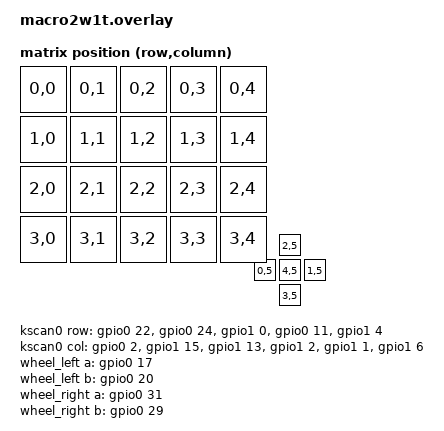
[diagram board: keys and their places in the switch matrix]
#include <dt-bindings/zmk/matrix_transform.h>
#include <physical_layouts.dtsi>

/ {
    chosen {
        zmk,kscan = &kscan0;
        /*
         * No zmk,matrix-transform here on purpose.
         * ZMK Studio needs the physical layout to own the transform,
         * and having both set stops Studio from starting.
         */
    };

    /*
     * 6 columns x 5 rows.  Diodes run switch -> anode -> cathode -> ROW,
     * so current flows column to row: diode-direction = "col2row".
     * Pin numbers come straight out of 2W1TMacro.kicad_pcb.
     */
    kscan0: kscan_0 {
        compatible = "zmk,kscan-gpio-matrix";
        wakeup-source;
        diode-direction = "col2row";

        col-gpios
            = <&gpio0  2 GPIO_ACTIVE_HIGH>   /* COL 0  P0.02 */
            , <&gpio1 15 GPIO_ACTIVE_HIGH>   /* COL 1  P1.15 */
            , <&gpio1 13 GPIO_ACTIVE_HIGH>   /* COL 2  P1.13 */
            , <&gpio1  2 GPIO_ACTIVE_HIGH>   /* COL 3  P1.02 */
            , <&gpio1  1 GPIO_ACTIVE_HIGH>   /* COL 4  P1.01 */
            , <&gpio1  6 GPIO_ACTIVE_HIGH>   /* COL 5  P1.06 */
            ;

        row-gpios
            = <&gpio0 22 (GPIO_ACTIVE_HIGH | GPIO_PULL_DOWN)>   /* ROW 0  P0.22 */
            , <&gpio0 24 (GPIO_ACTIVE_HIGH | GPIO_PULL_DOWN)>   /* ROW 1  P0.24 */
            , <&gpio1  0 (GPIO_ACTIVE_HIGH | GPIO_PULL_DOWN)>   /* ROW 2  P1.00 */
            , <&gpio0 11 (GPIO_ACTIVE_HIGH | GPIO_PULL_DOWN)>   /* ROW 3  P0.11 */
            , <&gpio1  4 (GPIO_ACTIVE_HIGH | GPIO_PULL_DOWN)>   /* ROW 4  P1.04 */
            ;
    };

    /*
     * Column 5 is the 5-way switch: its five directions land on rows 0-4
     * in the order Left, Right, Up, Down, Center.
     */
    default_transform: keymap_transform_0 {
        compatible = "zmk,matrix-transform";
        columns = <6>;
        rows = <5>;
        map = <
            RC(0,0) RC(0,1) RC(0,2) RC(0,3) RC(0,4)   RC(0,5)
            RC(1,0) RC(1,1) RC(1,2) RC(1,3) RC(1,4)   RC(1,5)
            RC(2,0) RC(2,1) RC(2,2) RC(2,3) RC(2,4)   RC(2,5)
            RC(3,0) RC(3,1) RC(3,2) RC(3,3) RC(3,4)   RC(3,5)
                                                      RC(4,5)
        >;
    };

    /*
     * Where every key physically sits, so ZMK Studio can draw the board.
     * Units are centi-key-units: 100 = 1u = 19.05 mm.  Origin is the
     * top-left corner of the first key; every number below is measured
     * off 2W1TMacro.kicad_pcb.
     *
     * Order must match the transform map above, row by row.
     * The 5-way is drawn as five 0.5u caps in a cross, centred on the
     * real part at (5.43u, 4.12u).
     */
    physical_layout0: physical_layout_0 {
        compatible = "zmk,physical-layout";
        display-name = "2W1T Macro";
        transform = <&default_transform>;
        kscan = <&kscan0>;

        keys  //            w    h    x    y  rot  rx  ry
            = <&key_physical_attrs 100 100    0    0    0   0   0>
            , <&key_physical_attrs 100 100  100    0    0   0   0>
            , <&key_physical_attrs 100 100  200    0    0   0   0>
            , <&key_physical_attrs 100 100  300    0    0   0   0>   /* left wheel press  */
            , <&key_physical_attrs 100 100  400    0    0   0   0>   /* right wheel press */
            , <&key_physical_attrs  50  50  468  387    0   0   0>   /* 5-way left   */

            , <&key_physical_attrs 100 100    0  100    0   0   0>
            , <&key_physical_attrs 100 100  100  100    0   0   0>
            , <&key_physical_attrs 100 100  200  100    0   0   0>
            , <&key_physical_attrs 100 100  300  100    0   0   0>
            , <&key_physical_attrs 100 100  400  100    0   0   0>
            , <&key_physical_attrs  50  50  568  387    0   0   0>   /* 5-way right  */

            , <&key_physical_attrs 100 100    0  200    0   0   0>
            , <&key_physical_attrs 100 100  100  200    0   0   0>
            , <&key_physical_attrs 100 100  200  200    0   0   0>
            , <&key_physical_attrs 100 100  300  200    0   0   0>
            , <&key_physical_attrs 100 100  400  200    0   0   0>
            , <&key_physical_attrs  50  50  518  337    0   0   0>   /* 5-way up     */

            , <&key_physical_attrs 100 100    0  300    0   0   0>
            , <&key_physical_attrs 100 100  100  300    0   0   0>
            , <&key_physical_attrs 100 100  200  300    0   0   0>
            , <&key_physical_attrs 100 100  300  300    0   0   0>
            , <&key_physical_attrs 100 100  400  300    0   0   0>
            , <&key_physical_attrs  50  50  518  437    0   0   0>   /* 5-way down   */

            , <&key_physical_attrs  50  50  518  387    0   0   0>   /* 5-way center */
            ;
    };

    /* CKW12 roller, left position (SW1) */
    wheel_left: encoder_left {
        compatible = "alps,ec11";
        a-gpios = <&gpio0 17 (GPIO_ACTIVE_HIGH | GPIO_PULL_UP)>;   /* W1A  P0.17 */
        b-gpios = <&gpio0 20 (GPIO_ACTIVE_HIGH | GPIO_PULL_UP)>;   /* W1B  P0.20 */
        steps = <24>;
        status = "okay";
    };

    /* CKW12 roller, right position (SW3) */
    wheel_right: encoder_right {
        compatible = "alps,ec11";
        a-gpios = <&gpio0 31 (GPIO_ACTIVE_HIGH | GPIO_PULL_UP)>;   /* W2A  P0.31 */
        b-gpios = <&gpio0 29 (GPIO_ACTIVE_HIGH | GPIO_PULL_UP)>;   /* W2B  P0.29 */
        steps = <24>;
        status = "okay";
    };

    sensors: sensors {
        compatible = "zmk,keymap-sensors";
        sensors = <&wheel_left &wheel_right>;
        triggers-per-rotation = <12>;
    };
};
